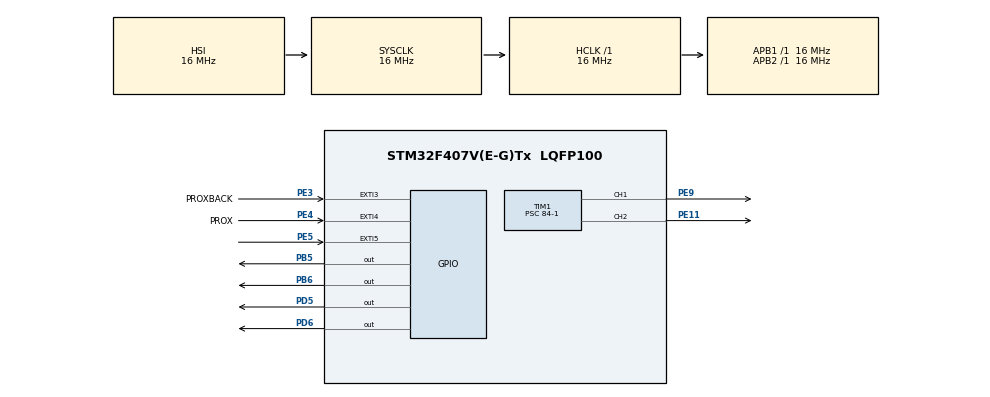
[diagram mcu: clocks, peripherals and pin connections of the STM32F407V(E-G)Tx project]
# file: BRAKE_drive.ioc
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Mcu.Family=STM32F4
Mcu.Name=STM32F407V(E-G)Tx
Mcu.Package=LQFP100
NVIC.EXTI3_IRQn=true\:0\:0\:false\:false\:true\:true\:true\:true
NVIC.EXTI4_IRQn=true\:0\:0\:false\:false\:true\:true\:true\:true
NVIC.EXTI9_5_IRQn=true\:0\:0\:false\:false\:true\:true\:true\:true
NVIC.PriorityGroup=NVIC_PRIORITYGROUP_4
PA13.Mode=Serial_Wire
PA13.Signal=SYS_JTMS-SWDIO
PA14.Mode=Serial_Wire
PA14.Signal=SYS_JTCK-SWCLK
PB5.Signal=GPIO_Output
PB6.Signal=GPIO_Output
PC14-OSC32_IN.Mode=LSE-External-Oscillator
PC14-OSC32_IN.Signal=RCC_OSC32_IN
PC15-OSC32_OUT.Mode=LSE-External-Oscillator
PC15-OSC32_OUT.Signal=RCC_OSC32_OUT
PD5.Signal=GPIO_Output
PD6.Signal=GPIO_Output
PE11.Signal=S_TIM1_CH2
PE3.GPIO_Label=PROXBACK
PE3.GPIO_ModeDefaultEXTI=GPIO_MODE_IT_RISING_FALLING
PE3.Signal=GPXTI3
PE4.GPIO_Label=PROX
PE4.GPIO_ModeDefaultEXTI=GPIO_MODE_IT_RISING_FALLING
PE4.Signal=GPXTI4
PE5.GPIO_ModeDefaultEXTI=GPIO_MODE_IT_RISING_FALLING
PE5.GPIO_PuPd=GPIO_PULLUP
PE5.Signal=GPXTI5
PE9.GPIO_Speed=GPIO_SPEED_FREQ_LOW
PE9.Signal=S_TIM1_CH1
PH0-OSC_IN.Mode=HSE-External-Oscillator
PH0-OSC_IN.Signal=RCC_OSC_IN
PH1-OSC_OUT.Mode=HSE-External-Oscillator
PH1-OSC_OUT.Signal=RCC_OSC_OUT
ProjectManager.HeapSize=0x200
ProjectManager.StackSize=0x400
ProjectManager.TargetToolchain=STM32CubeIDE
RCC.AHBFreq_Value=16000000
RCC.APB1Freq_Value=16000000
RCC.APB2Freq_Value=16000000
RCC.CortexFreq_Value=16000000
RCC.HSE_VALUE=25000000
RCC.HSI_VALUE=16000000
RCC.SYSCLKFreq_VALUE=16000000
RCC.VCOOutputFreq_Value=192000000
SH.S_TIM1_CH1.0=TIM1_CH1,PWM Generation1 CH1
SH.S_TIM1_CH2.0=TIM1_CH2,PWM Generation2 CH2
TIM1.Channel-PWM\ Generation1\ CH1=TIM_CHANNEL_1
TIM1.Channel-PWM\ Generation2\ CH2=TIM_CHANNEL_2
TIM1.Period=125-1
TIM1.Prescaler=84-1
VP_TIM1_VS_ClockSourceINT.Mode=Internal
VP_TIM2_VS_ClockSourceINT.Mode=Internal
board=custom

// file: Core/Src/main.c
/* USER CODE BEGIN Header */
/**
  ******************************************************************************
  * @file           : main.c
  * @brief          : Main program body
  ******************************************************************************
  * @attention
  *
  * Copyright (c) 2024 STMicroelectronics.
  * All rights reserved.
  *
  * This software is licensed under terms that can be found in the LICENSE file
  * in the root directory of this software component.
  * If no LICENSE file comes with this software, it is provided AS-IS.
  *
  ******************************************************************************
  */
/* USER CODE END Header */
#include "main.h"

TIM_HandleTypeDef htim1;
TIM_HandleTypeDef htim2;

void SystemClock_Config(void);
static void MX_GPIO_Init(void);
static void MX_TIM1_Init(void);
static void MX_TIM2_Init(void);

/* USER CODE BEGIN 0 */
extern volatile uint32_t starttime;
extern volatile uint32_t endtime;
extern volatile float pulsewidth;
extern volatile uint32_t count;
extern volatile uint32_t dutycycle;
extern volatile uint16_t falling_detected;
extern volatile uint32_t falling_detectedB;
extern volatile uint32_t signal;
/* USER CODE END 0 */

int main(void)
{

  /* MCU Configuration--------------------------------------------------------*/

  /* Reset of all peripherals, Initializes the Flash interface and the Systick. */
  HAL_Init();

  /* Configure the system clock */
  SystemClock_Config();

  /* Initialize all configured peripherals */
  MX_GPIO_Init();
  MX_TIM1_Init();
  MX_TIM2_Init();
  /* USER CODE BEGIN 2 */
  HAL_TIM_Base_Start(&htim2);
  HAL_TIM_PWM_Start(&htim1, TIM_CHANNEL_1);
  HAL_TIM_PWM_Start(&htim3, TIM_CHANNEL_1);
  HAL_GPIO_WritePin(GPIOD, GPIO_PIN_6, ENABLE);//enables the driver
  HAL_GPIO_WritePin(GPIOD, GPIO_PIN_5, ENABLE);//enables the driver
  /* USER CODE END 2 */

  /* Infinite loop */
  while (1)
  {

    /* USER CODE BEGIN 3 */

	  if(signal == 1){
	  	__HAL_TIM_SET_COMPARE(&htim1, TIM_CHANNEL_1, 0); //gives PWM to LPWM
	  	__HAL_TIM_SET_COMPARE(&htim1, TIM_CHANNEL_2, 40); //gives PWM to RPWM

	  	if(falling_detected==1){
	  			while(1){

	  				__HAL_TIM_SET_COMPARE(&htim1, TIM_CHANNEL_1, 0); //STOP
	  				__HAL_TIM_SET_COMPARE(&htim1, TIM_CHANNEL_2, 0); //STOP

	  				if(signal != 1){
	  					break;
	  				}
	  			}
	  		}

	  	if(signal == 0){
	  		__HAL_TIM_SET_COMPARE(&htim1, TIM_CHANNEL_1, 40); //gives PWM to LPWM
	  		__HAL_TIM_SET_COMPARE(&htim1, TIM_CHANNEL_2, 0); //gives PWM to RPWM

	  		if(falling_detectedB==1){
	  			while(1){
	  				__HAL_TIM_SET_COMPARE(&htim1, TIM_CHANNEL_1, 0); //STOP
	  				__HAL_TIM_SET_COMPARE(&htim1, TIM_CHANNEL_2, 0); //STOP
	  					}

	  				if(signal != 0){
	  					break;
	  				}
	  			}
	  		}

	  	}

  }
  /* USER CODE END 3 */
}

void SystemClock_Config(void)
{
  RCC_OscInitTypeDef RCC_OscInitStruct = {0};
  RCC_ClkInitTypeDef RCC_ClkInitStruct = {0};

  /** Configure the main internal regulator output voltage
  */
  __HAL_RCC_PWR_CLK_ENABLE();
  __HAL_PWR_VOLTAGESCALING_CONFIG(PWR_REGULATOR_VOLTAGE_SCALE1);

  /** Initializes the RCC Oscillators according to the specified parameters
  * in the RCC_OscInitTypeDef structure.
  */
  RCC_OscInitStruct.OscillatorType = RCC_OSCILLATORTYPE_HSI;
  RCC_OscInitStruct.HSIState = RCC_HSI_ON;
  RCC_OscInitStruct.HSICalibrationValue = RCC_HSICALIBRATION_DEFAULT;
  RCC_OscInitStruct.PLL.PLLState = RCC_PLL_NONE;
  if (HAL_RCC_OscConfig(&RCC_OscInitStruct) != HAL_OK)
  {
    Error_Handler();
  }

  /** Initializes the CPU, AHB and APB buses clocks
  */
  RCC_ClkInitStruct.ClockType = RCC_CLOCKTYPE_HCLK|RCC_CLOCKTYPE_SYSCLK
                              |RCC_CLOCKTYPE_PCLK1|RCC_CLOCKTYPE_PCLK2;
  RCC_ClkInitStruct.SYSCLKSource = RCC_SYSCLKSOURCE_HSI;
  RCC_ClkInitStruct.AHBCLKDivider = RCC_SYSCLK_DIV1;
  RCC_ClkInitStruct.APB1CLKDivider = RCC_HCLK_DIV1;
  RCC_ClkInitStruct.APB2CLKDivider = RCC_HCLK_DIV1;

  if (HAL_RCC_ClockConfig(&RCC_ClkInitStruct, FLASH_LATENCY_0) != HAL_OK)
  {
    Error_Handler();
  }
}

static void MX_TIM1_Init(void)
{

  TIM_ClockConfigTypeDef sClockSourceConfig = {0};
  TIM_MasterConfigTypeDef sMasterConfig = {0};
  TIM_OC_InitTypeDef sConfigOC = {0};
  TIM_BreakDeadTimeConfigTypeDef sBreakDeadTimeConfig = {0};

  htim1.Instance = TIM1;
  htim1.Init.Prescaler = 84-1;
  htim1.Init.CounterMode = TIM_COUNTERMODE_UP;
  htim1.Init.Period = 125-1;
  htim1.Init.ClockDivision = TIM_CLOCKDIVISION_DIV1;
  htim1.Init.RepetitionCounter = 0;
  htim1.Init.AutoReloadPreload = TIM_AUTORELOAD_PRELOAD_DISABLE;
  if (HAL_TIM_Base_Init(&htim1) != HAL_OK)
  {
    Error_Handler();
  }
  sClockSourceConfig.ClockSource = TIM_CLOCKSOURCE_INTERNAL;
  if (HAL_TIM_ConfigClockSource(&htim1, &sClockSourceConfig) != HAL_OK)
  {
    Error_Handler();
  }
  if (HAL_TIM_PWM_Init(&htim1) != HAL_OK)
  {
    Error_Handler();
  }
  sMasterConfig.MasterOutputTrigger = TIM_TRGO_RESET;
  sMasterConfig.MasterSlaveMode = TIM_MASTERSLAVEMODE_DISABLE;
  if (HAL_TIMEx_MasterConfigSynchronization(&htim1, &sMasterConfig) != HAL_OK)
  {
    Error_Handler();
  }
  sConfigOC.OCMode = TIM_OCMODE_PWM1;
  sConfigOC.Pulse = 0;
  sConfigOC.OCPolarity = TIM_OCPOLARITY_HIGH;
  sConfigOC.OCNPolarity = TIM_OCNPOLARITY_HIGH;
  sConfigOC.OCFastMode = TIM_OCFAST_DISABLE;
  sConfigOC.OCIdleState = TIM_OCIDLESTATE_RESET;
  sConfigOC.OCNIdleState = TIM_OCNIDLESTATE_RESET;
  if (HAL_TIM_PWM_ConfigChannel(&htim1, &sConfigOC, TIM_CHANNEL_1) != HAL_OK)
  {
    Error_Handler();
  }
  if (HAL_TIM_PWM_ConfigChannel(&htim1, &sConfigOC, TIM_CHANNEL_2) != HAL_OK)
  {
    Error_Handler();
  }
  sBreakDeadTimeConfig.OffStateRunMode = TIM_OSSR_DISABLE;
  sBreakDeadTimeConfig.OffStateIDLEMode = TIM_OSSI_DISABLE;
  sBreakDeadTimeConfig.LockLevel = TIM_LOCKLEVEL_OFF;
  sBreakDeadTimeConfig.DeadTime = 0;
  sBreakDeadTimeConfig.BreakState = TIM_BREAK_DISABLE;
  sBreakDeadTimeConfig.BreakPolarity = TIM_BREAKPOLARITY_HIGH;
  sBreakDeadTimeConfig.AutomaticOutput = TIM_AUTOMATICOUTPUT_DISABLE;
  if (HAL_TIMEx_ConfigBreakDeadTime(&htim1, &sBreakDeadTimeConfig) != HAL_OK)
  {
    Error_Handler();
  }
  HAL_TIM_MspPostInit(&htim1);

}

static void MX_TIM2_Init(void)
{

  TIM_ClockConfigTypeDef sClockSourceConfig = {0};
  TIM_MasterConfigTypeDef sMasterConfig = {0};

  htim2.Instance = TIM2;
  htim2.Init.Prescaler = 0;
  htim2.Init.CounterMode = TIM_COUNTERMODE_UP;
  htim2.Init.Period = 4294967295;
  htim2.Init.ClockDivision = TIM_CLOCKDIVISION_DIV1;
  htim2.Init.AutoReloadPreload = TIM_AUTORELOAD_PRELOAD_DISABLE;
  if (HAL_TIM_Base_Init(&htim2) != HAL_OK)
  {
    Error_Handler();
  }
  sClockSourceConfig.ClockSource = TIM_CLOCKSOURCE_INTERNAL;
  if (HAL_TIM_ConfigClockSource(&htim2, &sClockSourceConfig) != HAL_OK)
  {
    Error_Handler();
  }
  sMasterConfig.MasterOutputTrigger = TIM_TRGO_RESET;
  sMasterConfig.MasterSlaveMode = TIM_MASTERSLAVEMODE_DISABLE;
  if (HAL_TIMEx_MasterConfigSynchronization(&htim2, &sMasterConfig) != HAL_OK)
  {
    Error_Handler();
  }

}

static void MX_GPIO_Init(void)
{
  GPIO_InitTypeDef GPIO_InitStruct = {0};

  /* GPIO Ports Clock Enable */
  __HAL_RCC_GPIOE_CLK_ENABLE();
  __HAL_RCC_GPIOC_CLK_ENABLE();
  __HAL_RCC_GPIOH_CLK_ENABLE();
  __HAL_RCC_GPIOA_CLK_ENABLE();
  __HAL_RCC_GPIOD_CLK_ENABLE();
  __HAL_RCC_GPIOB_CLK_ENABLE();

  /*Configure GPIO pin Output Level */
  HAL_GPIO_WritePin(GPIOD, GPIO_PIN_5|GPIO_PIN_6, GPIO_PIN_RESET);

  /*Configure GPIO pin Output Level */
  HAL_GPIO_WritePin(GPIOB, GPIO_PIN_5|GPIO_PIN_6, GPIO_PIN_RESET);

  /*Configure GPIO pins : PROXBACK_Pin PROX_Pin */
  GPIO_InitStruct.Pin = PROXBACK_Pin|PROX_Pin;
  GPIO_InitStruct.Mode = GPIO_MODE_IT_RISING_FALLING;
  GPIO_InitStruct.Pull = GPIO_NOPULL;
  HAL_GPIO_Init(GPIOE, &GPIO_InitStruct);

  /*Configure GPIO pin : PE5 */
  GPIO_InitStruct.Pin = GPIO_PIN_5;
  GPIO_InitStruct.Mode = GPIO_MODE_IT_RISING_FALLING;
  GPIO_InitStruct.Pull = GPIO_PULLUP;
  HAL_GPIO_Init(GPIOE, &GPIO_InitStruct);

  /*Configure GPIO pins : PD5 PD6 */
  GPIO_InitStruct.Pin = GPIO_PIN_5|GPIO_PIN_6;
  GPIO_InitStruct.Mode = GPIO_MODE_OUTPUT_PP;
  GPIO_InitStruct.Pull = GPIO_NOPULL;
  GPIO_InitStruct.Speed = GPIO_SPEED_FREQ_LOW;
  HAL_GPIO_Init(GPIOD, &GPIO_InitStruct);

  /*Configure GPIO pins : PB5 PB6 */
  GPIO_InitStruct.Pin = GPIO_PIN_5|GPIO_PIN_6;
  GPIO_InitStruct.Mode = GPIO_MODE_OUTPUT_PP;
  GPIO_InitStruct.Pull = GPIO_NOPULL;
  GPIO_InitStruct.Speed = GPIO_SPEED_FREQ_LOW;
  HAL_GPIO_Init(GPIOB, &GPIO_InitStruct);

  /* EXTI interrupt init*/
  HAL_NVIC_SetPriority(EXTI3_IRQn, 0, 0);
  HAL_NVIC_EnableIRQ(EXTI3_IRQn);

  HAL_NVIC_SetPriority(EXTI4_IRQn, 0, 0);
  HAL_NVIC_EnableIRQ(EXTI4_IRQn);

  HAL_NVIC_SetPriority(EXTI9_5_IRQn, 0, 0);
  HAL_NVIC_EnableIRQ(EXTI9_5_IRQn);

}

void Error_Handler(void)
{
  __disable_irq();
  while (1)
  {
  }
}
